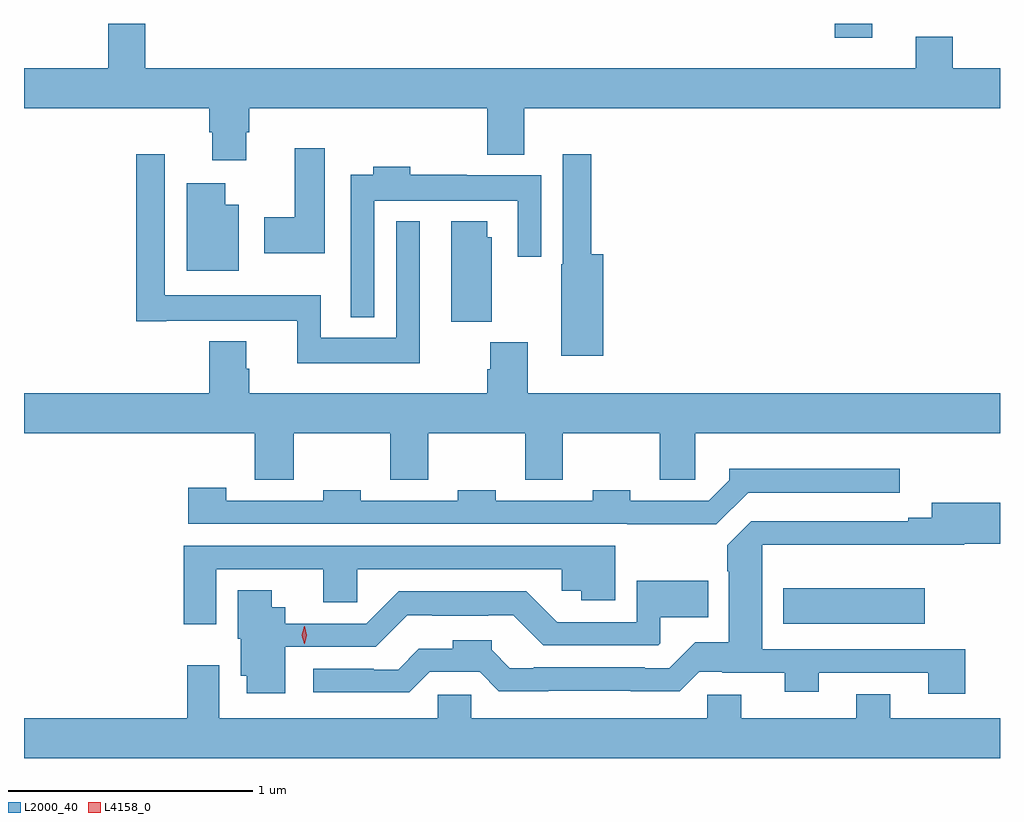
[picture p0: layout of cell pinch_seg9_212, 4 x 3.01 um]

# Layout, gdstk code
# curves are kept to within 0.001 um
import gdstk
lib = gdstk.Library(unit=1e-6, precision=1e-09)
def R(c, l, rs):  # rectangles x0, y0, x1, y1
    for r in rs: c.add(gdstk.rectangle(r[:2], r[2:], *l))
def P(c, l, *ps):  # polygons
    for p in ps: c.add(gdstk.Polygon(p, *l))
L2000_40 = (2000, 40)
L4158_0 = (4158, 0)

pinch_seg9_212 = lib.new_cell('pinch_seg9_212')
R(pinch_seg9_212, L2000_40, [(619.355,1240.928,619.936,1241.074), (619.567,1243.329,619.72,1243.388)])
P(pinch_seg9_212, L2000_40, [(617.155,1242.942),(617.168,1242.942),(617.168,1243.04),(618.143,1243.04),(618.143,1242.851),(618.295,1242.851),(618.295,1243.04),(620.244,1243.04),(620.244,1243.204),(620.051,1243.204),(620.051,1243.334),(619.898,1243.334),(619.898,1243.204),(616.741,1243.204),(616.741,1243.388),(616.589,1243.388),(616.589,1243.204),(616.244,1243.204),(616.244,1243.04),(617.003,1243.04),(617.003,1242.942),(617.015,1242.942),(617.015,1242.828),(617.155,1242.828)],
  [(617.476,1242.877),(617.354,1242.877),(617.354,1242.594),(617.229,1242.594),(617.229,1242.446),(617.476,1242.446)],
  [(617.866,1242.577),(617.769,1242.577),(617.769,1242.1),(617.46,1242.1),(617.46,1242.274),(616.821,1242.274),(616.821,1242.853),(616.705,1242.853),(616.705,1242.168),(616.828,1242.168),(616.828,1242.17),(617.363,1242.17),(617.363,1241.996),(617.866,1241.996)],
  [(618.617,1242.442),(618.569,1242.442),(618.569,1242.853),(618.453,1242.853),(618.453,1242.402),(618.446,1242.402),(618.446,1242.026),(618.617,1242.026)],
  [(617.679,1242.662),(618.267,1242.662),(618.267,1242.432),(618.363,1242.432),(618.363,1242.766),(618.059,1242.766),(618.059,1242.769),(617.828,1242.769),(617.828,1242.802),(617.675,1242.802),(617.675,1242.769),(617.583,1242.769),(617.583,1242.185),(617.679,1242.185)],
  [(617.125,1242.646),(617.068,1242.646),(617.068,1242.733),(616.91,1242.733),(616.91,1242.374),(617.125,1242.374)],
  [(618.16,1242.513),(618.142,1242.513),(618.142,1242.577),(617.996,1242.577),(617.996,1242.166),(618.16,1242.166)],
  [(617.349,1241.708),(617.746,1241.708),(617.746,1241.518),(617.901,1241.518),(617.901,1241.708),(618.298,1241.708),(618.298,1241.518),(618.453,1241.518),(618.453,1241.708),(618.85,1241.708),(618.85,1241.518),(618.996,1241.518),(618.996,1241.708),(620.244,1241.708),(620.244,1241.872),(618.308,1241.872),(618.308,1242.081),(618.155,1242.081),(618.155,1241.972),(618.143,1241.972),(618.143,1241.872),(617.168,1241.872),(617.168,1241.973),(617.155,1241.973),(617.155,1242.085),(617.003,1242.085),(617.003,1241.872),(616.244,1241.872),(616.244,1241.708),(617.189,1241.708),(617.189,1241.518),(617.349,1241.518)],
  [(619.212,1241.466),(619.834,1241.466),(619.834,1241.563),(619.134,1241.563),(619.134,1241.517),(619.05,1241.433),(618.729,1241.433),(618.729,1241.476),(618.574,1241.476),(618.574,1241.433),(618.177,1241.433),(618.177,1241.476),(618.022,1241.476),(618.022,1241.433),(617.625,1241.433),(617.625,1241.476),(617.47,1241.476),(617.47,1241.433),(617.073,1241.433),(617.073,1241.485),(616.917,1241.485),(616.917,1241.337),(618.717,1241.337),(618.717,1241.335),(619.081,1241.335)],
  [(620.102,1240.824),(619.27,1240.824),(619.27,1241.252),(620.097,1241.252),(620.097,1241.255),(620.244,1241.255),(620.244,1241.425),(619.964,1241.425),(619.964,1241.362),(619.868,1241.362),(619.868,1241.349),(619.224,1241.349),(619.126,1241.25),(619.126,1241.144),(619.133,1241.144),(619.133,1240.852),(618.994,1240.852),(618.888,1240.746),(618.788,1240.746),(618.788,1240.749),(618.334,1240.749),(618.334,1240.746),(618.235,1240.746),(618.16,1240.821),(618.16,1240.861),(618.002,1240.861),(618.002,1240.826),(617.862,1240.826),(617.777,1240.74),(617.678,1240.74),(617.678,1240.743),(617.43,1240.743),(617.43,1240.647),(617.823,1240.647),(617.907,1240.731),(618.111,1240.731),(618.19,1240.652),(618.932,1240.652),(619.011,1240.731),(619.105,1240.731),(619.105,1240.728),(619.361,1240.728),(619.361,1240.649),(619.501,1240.649),(619.501,1240.728),(619.949,1240.728),(619.949,1240.641),(620.102,1240.641)],
  [(617.032,1241.151),(617.471,1241.151),(617.471,1241.016),(617.609,1241.016),(617.609,1241.151),(618.447,1241.151),(618.447,1241.064),(618.527,1241.064),(618.527,1241.024),(618.667,1241.024),(618.667,1241.247),(616.898,1241.247),(616.898,1240.926),(617.032,1240.926)],
  [(617.314,1240.833),(617.685,1240.833),(617.814,1240.962),(618.249,1240.962),(618.372,1240.839),(618.843,1240.839),(618.852,1240.848),(618.852,1240.955),(619.048,1240.955),(619.048,1241.104),(618.756,1241.104),(618.756,1240.935),(618.429,1240.935),(618.302,1241.062),(617.78,1241.062),(617.647,1240.929),(617.314,1240.929),(617.314,1240.996),(617.26,1240.996),(617.26,1241.066),(617.12,1241.066),(617.12,1240.866),(617.132,1240.866),(617.132,1240.716),(617.156,1240.716),(617.156,1240.644),(617.314,1240.644)],
  [(620.244,1240.54),(619.795,1240.54),(619.795,1240.639),(619.655,1240.639),(619.655,1240.54),(619.183,1240.54),(619.183,1240.638),(619.044,1240.638),(619.044,1240.54),(618.078,1240.54),(618.078,1240.638),(617.94,1240.638),(617.94,1240.54),(617.044,1240.54),(617.044,1240.759),(616.913,1240.759),(616.913,1240.54),(616.244,1240.54),(616.244,1240.376),(620.244,1240.376)])
P(pinch_seg9_212, L4158_0, [(617.393,1240.846),(617.393,1240.846),(617.383,1240.882),(617.393,1240.917),(617.393,1240.917),(617.394,1240.917),(617.403,1240.882),(617.394,1240.846)])

lib.write_gds('pinch_seg9_212.gds')
